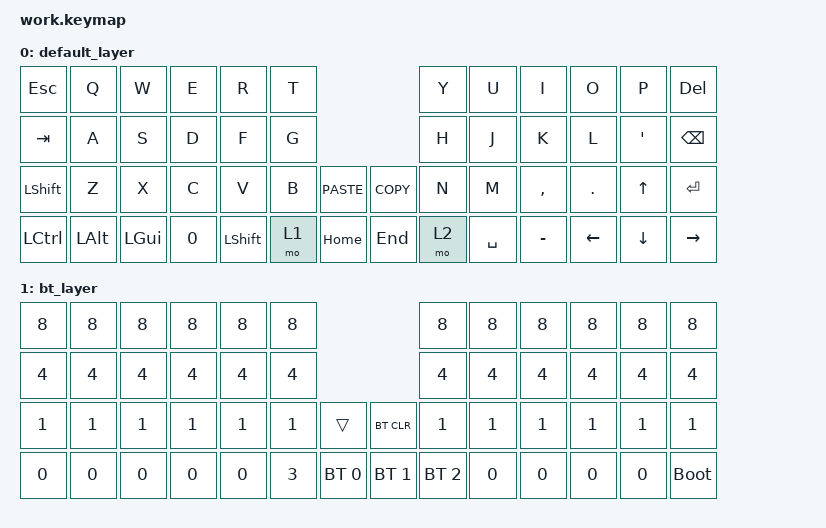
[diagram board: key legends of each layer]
#include <behaviors.dtsi>
#include <dt-bindings/zmk/keys.h>
#include <dt-bindings/zmk/bt.h>

/ {
    keymap {
        compatible = "zmk,keymap";

        default_layer {
            bindings = <
                &kp ESC      &kp Q    &kp W    &kp E    &kp R     &kp T                                  &kp Y     &kp U     &kp I     &kp O     &kp P     &kp DEL
                &kp TAB      &kp A    &kp S    &kp D    &kp F     &kp G                                  &kp H     &kp J     &kp K     &kp L     &kp SQT   &kp BSPC
                &kp LSHFT    &kp Z    &kp X    &kp C    &kp V     &kp B    &kp K_PASTE     &kp K_COPY    &kp N     &kp M     &kp COMMA &kp DOT   &kp UP    &kp ENTER
                &kp LCTRL    &kp LALT &kp LGUI &kp N0   &kp LSHFT &mo 1    &kp HOME        &kp END       &mo 2     &kp SPACE &kp MINUS &kp LEFT  &kp DOWN  &kp RIGHT
            >;        
        }; 
        
        bt_layer {
            bindings = <
                &kp N8    &kp N8    &kp N8    &kp N8    &kp N8    &kp N8                                       &kp N8          &kp N8    &kp N8    &kp N8    &kp N8    &kp N8
                &kp N4    &kp N4    &kp N4    &kp N4    &kp N4    &kp N4                                       &kp N4          &kp N4    &kp N4    &kp N4    &kp N4    &kp N4
                &kp N1    &kp N1    &kp N1    &kp N1    &kp N1    &kp N1     &trans           &bt BT_CLR       &kp N1          &kp N1    &kp N1    &kp N1    &kp N1    &kp N1
                &kp N0    &kp N0    &kp N0    &kp N0    &kp N0    &kp N3     &bt BT_SEL 0     &bt BT_SEL 1     &bt BT_SEL 2    &kp N0    &kp N0    &kp N0    &kp N0    &bootloader 
            >;
        };
    };
};
